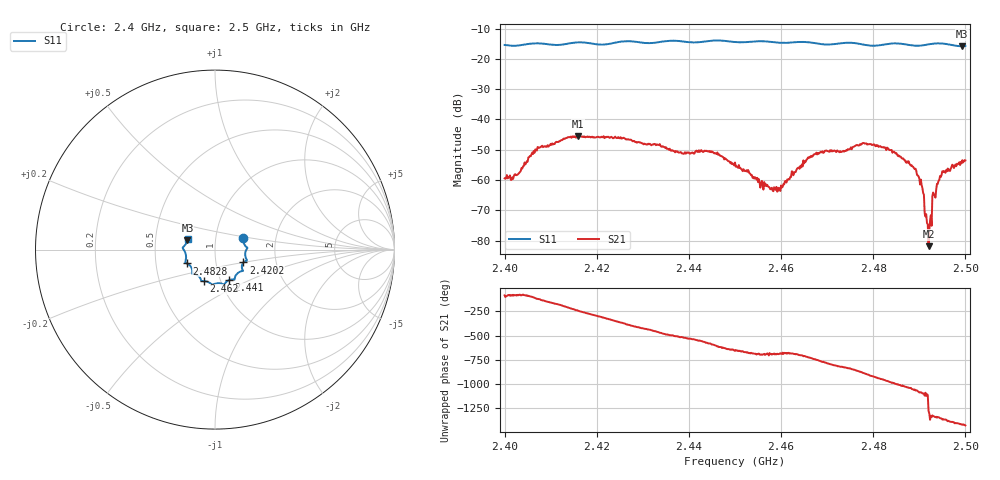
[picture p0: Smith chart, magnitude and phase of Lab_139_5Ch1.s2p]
# Hz S RI R 50
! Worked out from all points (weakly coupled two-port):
!   601 points, 2.4 GHz to 2.5 GHz, reference 50 ohm
!   highest |S21| = -45.46 dB at 2.416 GHz (marker M1); lowest = -81.8 dB at 2.492 GHz (marker M2)
!   lowest |S11| = -15.8 dB at 2.4993 GHz (marker M3), VSWR 1.39, Z = 36.5 + j3.85 ohm
!   |S11| at or under -10 dB: start of sweep to end of sweep
!   S12 and S22 are empty: the file has one direction only
!   S11 on the Smith chart (normalised r, x): 2.4 GHz: 1.36, +0.18; 2.4202 GHz: 1.36, -0.20; 2.441 GHz: 1.10, -0.39; 2.462 GHz: 0.84, -0.30; 2.4828 GHz: 0.72, -0.11; 2.5 GHz: 0.73, +0.09
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2.4e9  0.158 0.0626  7.77e-05 -0.00106  0 0  0 0
2.403e9  0.1642 0.0281  0.000118 -0.00126  0 0  0 0
2.407667e9  0.1802 0.00809  -0.00202 -0.00281  0 0  0 0
2.416e9  0.1779 -0.0592  -0.00224 0.00484  0 0  0 0
2.416667e9  0.1777 -0.0603  -0.00142 0.00503  0 0  0 0
2.420167e9  0.1582 -0.0714  0.00259 0.00447  0 0  0 0
2.433333e9  0.1121 -0.1513  -0.000979 -0.00366  0 0  0 0
2.441e9  0.0782 -0.1698  -0.00274 -9.5e-05  0 0  0 0
2.45e9  0.0284 -0.1876  0.000903 0.00173  0 0  0 0
2.457833e9  -0.0243 -0.1893  0.000615 0.00036  0 0  0 0
2.462e9  -0.0605 -0.1759  0.000919 0.000659  0 0  0 0
2.466667e9  -0.0785 -0.1681  0.00235 -0.000642  0 0  0 0
2.482833e9  -0.1574 -0.0771  -0.00117 0.0029  0 0  0 0
2.483333e9  -0.1606 -0.0757  -0.000935 0.00311  0 0  0 0
2.489333e9  -0.1617 -0.0324  0.00139 0.00035  0 0  0 0
2.4905e9  -0.1655 -0.0172  0.000825 -0.000124  0 0  0 0
2.491667e9  -0.1717 -0.0048  0.000174 -8.7e-05  0 0  0 0
2.492e9  -0.1735 -0.00205  -7.73e-05 2.41e-05  0 0  0 0
2.493333e9  -0.1792 0.00605  -0.000108 0.000545  0 0  0 0
2.494667e9  -0.1798 0.0112  0.000102 0.00112  0 0  0 0
2.499333e9  -0.1538 0.0514  0.00201 0.000718  0 0  0 0
2.5e9  -0.152 0.0609  0.00206 0.000449  0 0  0 0
